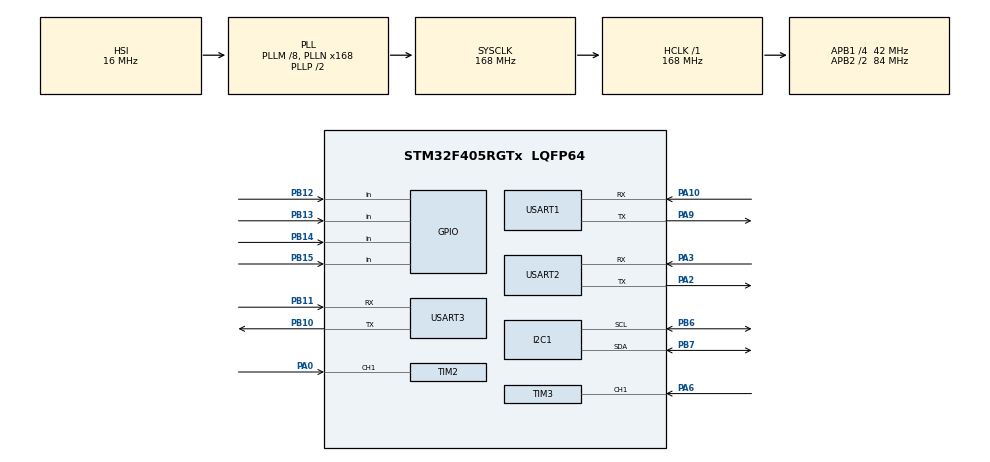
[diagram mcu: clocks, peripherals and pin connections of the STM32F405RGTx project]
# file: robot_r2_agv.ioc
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Dma.Request0=USART1_RX
Dma.Request1=USART1_TX
Dma.Request2=USART2_RX
Dma.Request3=USART2_TX
Dma.Request4=USART3_RX
Dma.Request5=USART3_TX
Dma.USART1_RX.0.Direction=DMA_PERIPH_TO_MEMORY
Dma.USART1_RX.0.FIFOMode=DMA_FIFOMODE_DISABLE
Dma.USART1_RX.0.Instance=DMA2_Stream2
Dma.USART1_RX.0.MemDataAlignment=DMA_MDATAALIGN_BYTE
Dma.USART1_RX.0.MemInc=DMA_MINC_ENABLE
Dma.USART1_RX.0.Mode=DMA_NORMAL
Dma.USART1_RX.0.PeriphDataAlignment=DMA_PDATAALIGN_BYTE
Dma.USART1_RX.0.PeriphInc=DMA_PINC_DISABLE
Dma.USART1_RX.0.Priority=DMA_PRIORITY_LOW
Dma.USART1_TX.1.Direction=DMA_MEMORY_TO_PERIPH
Dma.USART1_TX.1.FIFOMode=DMA_FIFOMODE_DISABLE
Dma.USART1_TX.1.Instance=DMA2_Stream7
Dma.USART1_TX.1.MemDataAlignment=DMA_MDATAALIGN_BYTE
Dma.USART1_TX.1.MemInc=DMA_MINC_ENABLE
Dma.USART1_TX.1.Mode=DMA_NORMAL
Dma.USART1_TX.1.PeriphDataAlignment=DMA_PDATAALIGN_BYTE
Dma.USART1_TX.1.PeriphInc=DMA_PINC_DISABLE
Dma.USART1_TX.1.Priority=DMA_PRIORITY_LOW
Dma.USART2_RX.2.Direction=DMA_PERIPH_TO_MEMORY
Dma.USART2_RX.2.FIFOMode=DMA_FIFOMODE_DISABLE
Dma.USART2_RX.2.Instance=DMA1_Stream5
Dma.USART2_RX.2.MemDataAlignment=DMA_MDATAALIGN_BYTE
Dma.USART2_RX.2.MemInc=DMA_MINC_ENABLE
Dma.USART2_RX.2.Mode=DMA_NORMAL
Dma.USART2_RX.2.PeriphDataAlignment=DMA_PDATAALIGN_BYTE
Dma.USART2_RX.2.PeriphInc=DMA_PINC_DISABLE
Dma.USART2_RX.2.Priority=DMA_PRIORITY_LOW
Dma.USART2_TX.3.Direction=DMA_MEMORY_TO_PERIPH
Dma.USART2_TX.3.FIFOMode=DMA_FIFOMODE_DISABLE
Dma.USART2_TX.3.Instance=DMA1_Stream6
Dma.USART2_TX.3.MemDataAlignment=DMA_MDATAALIGN_BYTE
Dma.USART2_TX.3.MemInc=DMA_MINC_ENABLE
Dma.USART2_TX.3.Mode=DMA_NORMAL
Dma.USART2_TX.3.PeriphDataAlignment=DMA_PDATAALIGN_BYTE
Dma.USART2_TX.3.PeriphInc=DMA_PINC_DISABLE
Dma.USART2_TX.3.Priority=DMA_PRIORITY_LOW
Dma.USART3_RX.4.Direction=DMA_PERIPH_TO_MEMORY
Dma.USART3_RX.4.FIFOMode=DMA_FIFOMODE_DISABLE
Dma.USART3_RX.4.Instance=DMA1_Stream1
Dma.USART3_RX.4.MemDataAlignment=DMA_MDATAALIGN_BYTE
Dma.USART3_RX.4.MemInc=DMA_MINC_ENABLE
Dma.USART3_RX.4.Mode=DMA_NORMAL
Dma.USART3_RX.4.PeriphDataAlignment=DMA_PDATAALIGN_BYTE
Dma.USART3_RX.4.PeriphInc=DMA_PINC_DISABLE
Dma.USART3_RX.4.Priority=DMA_PRIORITY_LOW
Dma.USART3_TX.5.Direction=DMA_MEMORY_TO_PERIPH
Dma.USART3_TX.5.FIFOMode=DMA_FIFOMODE_DISABLE
Dma.USART3_TX.5.Instance=DMA1_Stream3
Dma.USART3_TX.5.MemDataAlignment=DMA_MDATAALIGN_BYTE
Dma.USART3_TX.5.MemInc=DMA_MINC_ENABLE
Dma.USART3_TX.5.Mode=DMA_NORMAL
Dma.USART3_TX.5.PeriphDataAlignment=DMA_PDATAALIGN_BYTE
Dma.USART3_TX.5.PeriphInc=DMA_PINC_DISABLE
Dma.USART3_TX.5.Priority=DMA_PRIORITY_LOW
FREERTOS.INCLUDE_vTaskDelayUntil=1
FREERTOS.Tasks01=defaultTask,24,128,StartDefaultTask,Default,NULL,Dynamic,NULL,NULL
I2C1.I2C_Mode=I2C_Fast
Mcu.Family=STM32F4
Mcu.Name=STM32F405RGTx
Mcu.Package=LQFP64
NVIC.DMA1_Stream1_IRQn=true\:5\:0\:false\:false\:true\:true\:false\:true\:true
NVIC.DMA1_Stream3_IRQn=true\:5\:0\:false\:false\:true\:true\:false\:true\:true
NVIC.DMA1_Stream5_IRQn=true\:5\:0\:false\:false\:true\:true\:false\:true\:true
NVIC.DMA1_Stream6_IRQn=true\:5\:0\:false\:false\:true\:true\:false\:true\:true
NVIC.DMA2_Stream2_IRQn=true\:5\:0\:false\:false\:true\:true\:false\:true\:true
NVIC.DMA2_Stream7_IRQn=true\:5\:0\:false\:false\:true\:true\:false\:true\:true
NVIC.PriorityGroup=NVIC_PRIORITYGROUP_4
NVIC.TIM6_DAC_IRQn=true\:15\:0\:false\:false\:true\:false\:false\:true\:true
NVIC.TimeBase=TIM6_DAC_IRQn
NVIC.TimeBaseIP=TIM6
NVIC.USART1_IRQn=true\:5\:0\:false\:false\:true\:true\:true\:true\:true
NVIC.USART2_IRQn=true\:5\:0\:false\:false\:true\:true\:true\:true\:true
NVIC.USART3_IRQn=true\:5\:0\:false\:false\:true\:true\:true\:true\:true
PA0-WKUP.Signal=S_TIM2_CH1_ETR
PA10.Mode=Asynchronous
PA10.Signal=USART1_RX
PA13.Mode=Serial_Wire
PA13.Signal=SYS_JTMS-SWDIO
PA14.Mode=Serial_Wire
PA14.Signal=SYS_JTCK-SWCLK
PA2.Mode=Asynchronous
PA2.Signal=USART2_TX
PA3.Mode=Asynchronous
PA3.Signal=USART2_RX
PA6.Signal=S_TIM3_CH1
PA9.Mode=Asynchronous
PA9.Signal=USART1_TX
PB10.Mode=Asynchronous
PB10.Signal=USART3_TX
PB11.Mode=Asynchronous
PB11.Signal=USART3_RX
PB12.Signal=GPIO_Input
PB13.Signal=GPIO_Input
PB14.Signal=GPIO_Input
PB15.Signal=GPIO_Input
PB6.Mode=I2C
PB6.Signal=I2C1_SCL
PB7.Mode=I2C
PB7.Signal=I2C1_SDA
PH0-OSC_IN.Mode=HSE-External-Oscillator
PH0-OSC_IN.Signal=RCC_OSC_IN
PH1-OSC_OUT.Mode=HSE-External-Oscillator
PH1-OSC_OUT.Signal=RCC_OSC_OUT
ProjectManager.HeapSize=0x200
ProjectManager.StackSize=0x400
ProjectManager.TargetToolchain=STM32CubeIDE
RCC.48MHZClocksFreq_Value=84000000
RCC.AHBFreq_Value=168000000
RCC.APB1CLKDivider=RCC_HCLK_DIV4
RCC.APB1Freq_Value=42000000
RCC.APB1TimFreq_Value=84000000
RCC.APB2CLKDivider=RCC_HCLK_DIV2
RCC.APB2Freq_Value=84000000
RCC.APB2TimFreq_Value=168000000
RCC.CortexFreq_Value=168000000
RCC.HCLKFreq_Value=168000000
RCC.HSE_VALUE=25000000
RCC.HSI_VALUE=16000000
RCC.LSE_VALUE=32768
RCC.PLLM=8
RCC.PLLN=168
RCC.SYSCLKFreq_VALUE=168000000
RCC.SYSCLKSource=RCC_SYSCLKSOURCE_PLLCLK
RCC.VCOOutputFreq_Value=336000000
SH.S_TIM2_CH1_ETR.0=TIM2_CH1,Input_Capture1_from_TI1
SH.S_TIM3_CH1.0=TIM3_CH1,Input_Capture1_from_TI1
TIM2.Channel-Input_Capture1_from_TI1=TIM_CHANNEL_1
TIM2.Period=65535
TIM2.Prescaler=72-1
TIM3.Channel-Input_Capture1_from_TI1=TIM_CHANNEL_1
TIM4.Prescaler=500-1
USART1.VirtualMode=VM_ASYNC
USART2.VirtualMode=VM_ASYNC
USART3.VirtualMode=VM_ASYNC
VP_FREERTOS_VS_CMSIS_V2.Mode=CMSIS_V2
VP_SYS_VS_tim6.Mode=TIM6
VP_TIM2_VS_ClockSourceINT.Mode=Internal
VP_TIM4_VS_ClockSourceINT.Mode=Internal
board=custom

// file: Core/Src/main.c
/* USER CODE BEGIN Header */
/**
  ******************************************************************************
  * @file           : main.c
  * @brief          : Main program body
  ******************************************************************************
  * @attention
  *
  * Copyright (c) 2024 STMicroelectronics.
  * All rights reserved.
  *
  * This software is licensed under terms that can be found in the LICENSE file
  * in the root directory of this software component.
  * If no LICENSE file comes with this software, it is provided AS-IS.
  *
  ******************************************************************************
  */
/* USER CODE END Header */
#include "main.h"
#include "cmsis_os.h"
#include "dma.h"
#include "i2c.h"
#include "tim.h"
#include "usart.h"
#include "gpio.h"

/* USER CODE BEGIN Includes */
#include "FreeRTOS.h"
#include "task.h"
#include "timers.h"
#include "queue.h"
#include "semphr.h"
#include "event_groups.h"
/* USER CODE END Includes */

void SystemClock_Config(void);
void MX_FREERTOS_Init(void);

int main(void)
{

  /* MCU Configuration--------------------------------------------------------*/

  /* Reset of all peripherals, Initializes the Flash interface and the Systick. */
  HAL_Init();

  /* Configure the system clock */
  SystemClock_Config();

  /* Initialize all configured peripherals */
  MX_GPIO_Init();
  MX_DMA_Init();
  MX_USART1_UART_Init();
  MX_USART2_UART_Init();
  MX_USART3_UART_Init();
  MX_TIM2_Init();
  MX_TIM3_Init();
  MX_TIM4_Init();
  MX_I2C1_Init();

  /* Call init function for freertos objects (in freertos.c) */
  MX_FREERTOS_Init();

  /* Start scheduler */
  vTaskStartScheduler();

  /* We should never get here as control is now taken by the scheduler */
  /* Infinite loop */
  while (1)
  {

  }
}

void SystemClock_Config(void)
{
  RCC_OscInitTypeDef RCC_OscInitStruct = {0};
  RCC_ClkInitTypeDef RCC_ClkInitStruct = {0};

  /** Configure the main internal regulator output voltage
  */
  __HAL_RCC_PWR_CLK_ENABLE();
  __HAL_PWR_VOLTAGESCALING_CONFIG(PWR_REGULATOR_VOLTAGE_SCALE1);

  /** Initializes the RCC Oscillators according to the specified parameters
  * in the RCC_OscInitTypeDef structure.
  */
  RCC_OscInitStruct.OscillatorType = RCC_OSCILLATORTYPE_HSI;
  RCC_OscInitStruct.HSIState = RCC_HSI_ON;
  RCC_OscInitStruct.HSICalibrationValue = RCC_HSICALIBRATION_DEFAULT;
  RCC_OscInitStruct.PLL.PLLState = RCC_PLL_ON;
  RCC_OscInitStruct.PLL.PLLSource = RCC_PLLSOURCE_HSI;
  RCC_OscInitStruct.PLL.PLLM = 8;
  RCC_OscInitStruct.PLL.PLLN = 168;
  RCC_OscInitStruct.PLL.PLLP = RCC_PLLP_DIV2;
  RCC_OscInitStruct.PLL.PLLQ = 4;
  if (HAL_RCC_OscConfig(&RCC_OscInitStruct) != HAL_OK)
  {
    Error_Handler();
  }

  /** Initializes the CPU, AHB and APB buses clocks
  */
  RCC_ClkInitStruct.ClockType = RCC_CLOCKTYPE_HCLK|RCC_CLOCKTYPE_SYSCLK
                              |RCC_CLOCKTYPE_PCLK1|RCC_CLOCKTYPE_PCLK2;
  RCC_ClkInitStruct.SYSCLKSource = RCC_SYSCLKSOURCE_PLLCLK;
  RCC_ClkInitStruct.AHBCLKDivider = RCC_SYSCLK_DIV1;
  RCC_ClkInitStruct.APB1CLKDivider = RCC_HCLK_DIV4;
  RCC_ClkInitStruct.APB2CLKDivider = RCC_HCLK_DIV2;

  if (HAL_RCC_ClockConfig(&RCC_ClkInitStruct, FLASH_LATENCY_5) != HAL_OK)
  {
    Error_Handler();
  }
}

void Error_Handler(void)
{
  __disable_irq();
  while (1)
  {
  }
}

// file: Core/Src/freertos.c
/* USER CODE BEGIN Header */
/**
  ******************************************************************************
  * File Name          : freertos.c
  * Description        : Code for freertos applications
  ******************************************************************************
  * @attention
  *
  * Copyright (c) 2024 STMicroelectronics.
  * All rights reserved.
  *
  * This software is licensed under terms that can be found in the LICENSE file
  * in the root directory of this software component.
  * If no LICENSE file comes with this software, it is provided AS-IS.
  *
  ******************************************************************************
  */
/* USER CODE END Header */

#include "FreeRTOS.h"
#include "task.h"
#include "main.h"
#include "usart.h"
#include "i2c.h"
#include "gpio.h"
#include "tim.h"

/* USER CODE BEGIN Includes */
#include <stdint.h>
#include <string.h>
#include "DDSMLib.h"
#include "gy95t.h"
#include "sr04.h"
/* USER CODE END Includes */

/* USER CODE BEGIN PTD */
#define MAX_MOTORS 6
#define HOSTMESSAGESZ 20

#define NUM_PROX 5

#define iic_add 0xa4 >> 1

typedef struct
{
	uint8_t m_id;
	short m_speed;
} MotorCmd_t;

uint8_t d80nk_[4];
extern uint16_t distance1;
extern uint16_t distance2;
/* USER CODE END PTD */

/* USER CODE BEGIN PD */
uint8_t checksum(uint8_t *data, uint8_t len)
{
	uint8_t crc = 0;
	for (uint8_t i = 0; i < len - 1; i++)
	{
		crc += data[i];
	}
	return crc;
}

void HostMessageParse(uint8_t *receiveBytes, MotorCmd_t *m_motors)
{
	uint8_t data[HOSTMESSAGESZ];
	for (uint8_t i = 0; i < HOSTMESSAGESZ; i++)
	{
		data[i] = receiveBytes[i];
	}
	uint8_t checking = checksum(data, HOSTMESSAGESZ);
	if (checking == data[19])
	{
		m_motors[0].m_id = data[1];
		m_motors[0].m_speed = (data[2] << 8) | data[3];
		m_motors[1].m_id = data[4];
		m_motors[1].m_speed = (data[5] << 8) | data[6];
		m_motors[2].m_id = data[7];
		m_motors[2].m_speed = (data[8] << 8) | data[9];
		m_motors[3].m_id = data[10];
		m_motors[3].m_speed = (data[11] << 8) | data[12];
		m_motors[4].m_id = data[13];
		m_motors[4].m_speed = (data[14] << 8) | data[15];
		m_motors[5].m_id = data[16];
		m_motors[5].m_speed = (data[17] << 8) | data[18];
	}
	memset(receiveBytes, 0, sizeof(receiveBytes));
}

void d80nk_read()
{
	GPIO_PinState pinStates[NUM_PROX];
	pinStates[0] = HAL_GPIO_ReadPin(GPIOB, GPIO_PIN_15);
	pinStates[1] = HAL_GPIO_ReadPin(GPIOB, GPIO_PIN_14);
	pinStates[2] = HAL_GPIO_ReadPin(GPIOB, GPIO_PIN_13);
	pinStates[3] = HAL_GPIO_ReadPin(GPIOB, GPIO_PIN_12);
	for (int i = 0; i < 4; i++)
	{
		if (pinStates[i] == GPIO_PIN_SET)
		{
			d80nk_[i] = '0';
		}
		else
		{
			d80nk_[i] = '1';
			//			sprintf(message,"Sensor ON\n");
			//			HAL_UART_Transmit(&huart3, message, sizeof(message), HAL_MAX_DELAY);
		}
	}
}
/* USER CODE END PD */

/* USER CODE BEGIN PM */
uint8_t receiveBytes[14];
uint8_t receiveBuff[14];

extern uint8_t responseBuffer[45];
extern uint8_t responseBuffer_module[MAX_MOTORS][10];

extern uint8_t commandBuffer[10];
motor_sensor_t wheelsensor[MAX_MOTORS];

MotorCmd_t m_motors[MAX_MOTORS];
uint32_t L_R_delay = pdMS_TO_TICKS(4);

gy my_95Q;
uint8_t td = 0;

volatile uint8_t huart2Received = 0;
volatile uint32_t timerCounter = 0;
/* USER CODE END PM */

/* USER CODE BEGIN Variables */
xTaskHandle Serial_Task_Handler;
xTaskHandle Sensor_Task_Handler;
xTaskHandle IMU_Task_Handler;
xTaskHandle Feedback_Task_Handler;

void Serial_Task(void *argument);
void Sensor_Task(void *argument);
void IMU_Task(void *argument);
void Feedback_Task(void *argument);
/* USER CODE END Variables */
//osThreadId defaultTaskHandle;

void StartDefaultTask(void const * argument);

void MX_FREERTOS_Init(void); /* (MISRA C 2004 rule 8.1) */

/* GetIdleTaskMemory prototype (linked to static allocation support) */
void vApplicationGetIdleTaskMemory( StaticTask_t **ppxIdleTaskTCBBuffer, StackType_t **ppxIdleTaskStackBuffer, uint32_t *pulIdleTaskStackSize );

/* USER CODE BEGIN GET_IDLE_TASK_MEMORY */
static StaticTask_t xIdleTaskTCBBuffer;
static StackType_t xIdleStack[configMINIMAL_STACK_SIZE];

void vApplicationGetIdleTaskMemory( StaticTask_t **ppxIdleTaskTCBBuffer, StackType_t **ppxIdleTaskStackBuffer, uint32_t *pulIdleTaskStackSize )
{
  *ppxIdleTaskTCBBuffer = &xIdleTaskTCBBuffer;
  *ppxIdleTaskStackBuffer = &xIdleStack[0];
  *pulIdleTaskStackSize = configMINIMAL_STACK_SIZE;
  /* place for user code */
}
/* USER CODE END GET_IDLE_TASK_MEMORY */

void MX_FREERTOS_Init(void) {

  /* Create the thread(s) */
  /* definition and creation of defaultTask */
//  osThreadDef(defaultTask, StartDefaultTask, osPriorityNormal, 0, 128);
//  defaultTaskHandle = osThreadCreate(osThread(defaultTask), NULL);

  /* USER CODE BEGIN RTOS_THREADS */
  /* add threads, ... */
	xTaskCreate(Serial_Task, "Serial_Task_", 128, NULL, 5, &Serial_Task_Handler);
	xTaskCreate(Sensor_Task, "Sensor_Task", 128, NULL, 4, &Sensor_Task_Handler);
	//xTaskCreate(IMU_Task, "IMU_Task", 128, NULL, 3, IMU_Task_Handler);
	xTaskCreate(Feedback_Task, "Feedback_Task", 128, NULL, 3, Feedback_Task_Handler);
  /* USER CODE END RTOS_THREADS */

}

void StartDefaultTask(void const * argument)
{
  /* USER CODE BEGIN StartDefaultTask */
  /* Infinite loop */
//  for(;;)
//  {
//    osDelay(1);
//  }
  /* USER CODE END StartDefaultTask */
}

/* USER CODE BEGIN Application */
void HAL_TIM_PeriodElapsedCallback(TIM_HandleTypeDef *htim)
{
	if (htim == &htim4)
	{
		if (huart2Received)
		{
			huart2Received = 0; // Reset the flag
			timerCounter = 0;	// Reset the timer counter
		}
		else
		{
			timerCounter++;
			if (timerCounter >= 2) // Adjust the value based on your timer period (e.g., 2 for 1 second if the timer period is 0.5 seconds)
			{
				timerCounter = 1;
			}
		}
	}
}

void HAL_UART_RxCpltCallback(UART_HandleTypeDef *huart)
{
	if (huart == &huart1)
	{
		memcpy(receiveBytes, receiveBuff, sizeof(receiveBuff));
		HostMessageParse(receiveBytes, &m_motors);
		HAL_UART_Receive_DMA(&huart1, receiveBuff, sizeof(receiveBuff));
	}

	if (huart == &huart2)
	{
		huart2Received = 1;
		timerCounter = 0;
		short len = strlen(responseBuffer);
		short arraysz = sizeof(responseBuffer) / sizeof(*responseBuffer);
		for (int i = 0; i < arraysz; i++)
		{
			for(int j = 0; j < MAX_MOTORS; ++j)
			{
				if(responseBuffer[i] == wheelsensor[j].id)
				{
					uint8_t sigmentBuffer[10];
					memcpy(sigmentBuffer, &responseBuffer[i], 10);
					uint8_t checking = checkCRC(&sigmentBuffer);
					if(checking)
					{
						memcpy(responseBuffer_module[j], &responseBuffer[i], 10);
					}
				}
			}
		}

		memset(responseBuffer, 0, sizeof(responseBuffer));
		HAL_UART_Receive_DMA(&huart2, responseBuffer, 25);
	}
}

void Serial_Task(void *argument)
{
	HAL_TIM_Base_Start_IT(&htim4);
	HAL_UART_Receive_DMA(&huart1, receiveBuff, sizeof(receiveBuff));
	HAL_UART_Receive_DMA(&huart2, responseBuffer, 25);
	uint32_t send_delay = pdMS_TO_TICKS(100);
	while (1)
	{
		setVelocity(m_motors[0].m_id, m_motors[0].m_speed, 0);
		vTaskDelay(L_R_delay * 5);
		setVelocity(m_motors[1].m_id, m_motors[1].m_speed, 0);
		vTaskDelay(L_R_delay * 4);
		setVelocity(m_motors[2].m_id, m_motors[2].m_speed, 0);
		vTaskDelay(L_R_delay * 3);
		setVelocity(m_motors[3].m_id, m_motors[3].m_speed, 0);
		vTaskDelay(L_R_delay * 2);
		setVelocity(m_motors[4].m_id, m_motors[4].m_speed, 0);
		vTaskDelay(L_R_delay * 1);
		setVelocity(m_motors[5].m_id, m_motors[5].m_speed, 0);
		receiveFromBuffer();
		Parse_DMA_All(&wheelsensor, timerCounter);
		vTaskDelay(send_delay);
//		uint8_t str[30];
//		sprintf(str, "HL: %d HR: %d LL: %d LR: %d\n", wheelsensor.HLeftVelocity,  wheelsensor.HRightVelocity, wheelsensor.LLeftVelocity,  wheelsensor.LRightVelocity);
//		HAL_UART_Transmit(&huart3, str, sizeof(str), HAL_MAX_DELAY);
		HAL_UART_Receive_DMA(&huart2, responseBuffer, 25);
		HAL_UART_Receive_DMA(&huart1, receiveBuff, sizeof(receiveBuff));
	}
}

void Feedback_Task(void *argument)
{
	uint32_t tick_delay = pdMS_TO_TICKS(200);
	while(1)
	{
		uint8_t sendData[48];
		sendData[0] = 0x00;
		sendData[1] = (wheelsensor[0].id) & 0xFF;
		sendData[2] = ((wheelsensor[0].velocity)>>8) & 0xFF;
		sendData[3] = wheelsensor[0].velocity & 0xFF;
		sendData[4] = wheelsensor[1].id & 0xFF;
		sendData[5] = ((wheelsensor[1].velocity)>>8) & 0xFF;
		sendData[6] = wheelsensor[1].velocity & 0xFF;
		sendData[7] = (wheelsensor[2].id) & 0xFF;
		sendData[8] = ((wheelsensor[2].velocity) >> 8) & 0xFF;
		sendData[9] = wheelsensor[2].velocity & 0xFF;
		sendData[10] = (wheelsensor[3].id) & 0xFF;
		sendData[11] = ((wheelsensor[3].velocity) >> 8) & 0xFF;
		sendData[12] = wheelsensor[3].velocity & 0xFF;
		sendData[13] = (wheelsensor[4].id) & 0xFF;
		sendData[14] = ((wheelsensor[4].velocity) >> 8) & 0xFF;
		sendData[15] = wheelsensor[4].velocity & 0xFF;
		sendData[16] = (wheelsensor[5].id) & 0xFF;
		sendData[17] = ((wheelsensor[5].velocity) >> 8) & 0xFF;
		sendData[18] = wheelsensor[5].velocity & 0xFF;
		sendData[19] = (my_95Q.Acc_x >> 8) & 0xFF;
		sendData[20] = my_95Q.Acc_x & 0XFF;
		sendData[21] = (my_95Q.Acc_y >> 8) & 0XFF;
		sendData[22] = my_95Q.Acc_y & 0xFF;
		sendData[23] = (my_95Q.Acc_z >> 8) & 0xFF;
		sendData[24] = my_95Q.Acc_z & 0xFF;
		sendData[25] = (my_95Q.Gyro_x >> 8) & 0XFF;
		sendData[26] = my_95Q.Gyro_x & 0xFF;
		sendData[27] = (my_95Q.Gyro_y >> 8) & 0XFF;
		sendData[28] = my_95Q.Gyro_y & 0xFF;
		sendData[29] = (my_95Q.Gyro_z >> 8) & 0XFF;
		sendData[30] = my_95Q.Gyro_z >> 8 & 0xFF;
		sendData[31] = (my_95Q.Q0 >> 8) & 0xFF;
		sendData[32] = my_95Q.Q0 & 0xFF;
		sendData[33] = (my_95Q.Q1 >> 8) & 0xFF;
		sendData[34] = my_95Q.Q1 & 0xFF;
		sendData[35] = (my_95Q.Q2 >> 8) & 0xFF;
		sendData[36] = my_95Q.Q2 & 0xFF;
		sendData[37] = (my_95Q.Q3 >> 8) & 0xFF;
		sendData[38] = my_95Q.Q3 & 0xFF;
		sendData[39] = (distance1 >> 8) & 0xFF;
		sendData[40] = (distance1) & 0xFF;
		sendData[41] = (distance2 >> 8) & 0xFF;
		sendData[42] = (distance2) & 0xFF;
		sendData[43] = d80nk_[0] & 0xFF;
		sendData[44] = d80nk_[1] & 0xFF;
		sendData[45] = d80nk_[2] & 0xFF;
		sendData[46] = d80nk_[3] & 0xFF;
		sendData[47] = checksum(sendData, 48);
		HAL_UART_Transmit(&huart1, sendData, 48, HAL_MAX_DELAY);
		vTaskDelay(tick_delay);
	}

}

void Sensor_Task(void *argument)
{
	uint32_t send_delay = pdMS_TO_TICKS(100);
	HAL_TIM_Base_Start(&htim2);
	HAL_TIM_IC_Start_IT(&htim2,TIM_CHANNEL_1);
	HAL_TIM_Base_Start(&htim3);
	HAL_TIM_IC_Start_IT(&htim3,TIM_CHANNEL_1);
	while (1)
	{
		HCSR04_Read();
		_HCSR04_Read();
		d80nk_read();
		vTaskDelay(send_delay);
	}
}

/// @brief IMU control and display task
/// @param argument

void IMU_Task(void *argument)
{
	uint32_t tick_delay = pdMS_TO_TICKS(200);
	uint8_t inited = 0;
	uint8_t debug[30];
	do {
		inited = gy95_Init(&td);
		sprintf(debug, "IMU not inited\n");
		HAL_UART_Transmit(&huart3, debug, sizeof(debug), HAL_MAX_DELAY);
		vTaskDelay(tick_delay);
	    } while (inited != 1);
	while(1)
	{
//		sprintf(debug, "IMU is inited\n");
//		HAL_UART_Transmit(&huart3, debug, sizeof(debug), HAL_MAX_DELAY);
		gy95_All(&my_95Q);
		vTaskDelay(tick_delay);
	}
}
/* USER CODE END Application */
